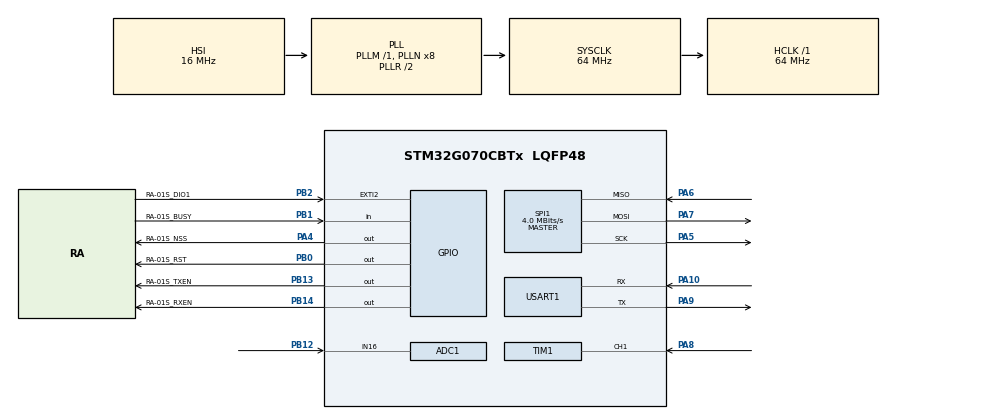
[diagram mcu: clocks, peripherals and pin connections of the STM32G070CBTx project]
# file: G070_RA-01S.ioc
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ADC1.ClockPrescaler=ADC_CLOCK_ASYNC_DIV2
ADC1.ContinuousConvMode=ENABLE
ADC1.DMAContinuousRequests=ENABLE
ADC1.NbrOfConversion=1
ADC1.NbrOfConversionFlag=0
ADC1.SamplingTimeCommon1=ADC_SAMPLETIME_39CYCLES_5
ADC1.SelectedChannel=ADC_CHANNEL_16
ADC1.Sequencer=NOT_FULLY_CONFIGURABLE
ADC1.master=1
Dma.ADC1.0.Direction=DMA_PERIPH_TO_MEMORY
Dma.ADC1.0.EventEnable=DISABLE
Dma.ADC1.0.Instance=DMA1_Channel1
Dma.ADC1.0.MemDataAlignment=DMA_MDATAALIGN_HALFWORD
Dma.ADC1.0.MemInc=DMA_MINC_ENABLE
Dma.ADC1.0.Mode=DMA_CIRCULAR
Dma.ADC1.0.PeriphDataAlignment=DMA_PDATAALIGN_HALFWORD
Dma.ADC1.0.PeriphInc=DMA_PINC_DISABLE
Dma.ADC1.0.Polarity=HAL_DMAMUX_REQ_GEN_RISING
Dma.ADC1.0.Priority=DMA_PRIORITY_LOW
Dma.ADC1.0.RequestNumber=1
Dma.ADC1.0.SignalID=NONE
Dma.ADC1.0.SyncEnable=DISABLE
Dma.ADC1.0.SyncPolarity=HAL_DMAMUX_SYNC_NO_EVENT
Dma.ADC1.0.SyncRequestNumber=1
Dma.ADC1.0.SyncSignalID=NONE
Dma.Request0=ADC1
Dma.Request1=TIM1_CH1
Dma.Request2=TIM1_CH2
Dma.TIM1_CH1.1.Direction=DMA_PERIPH_TO_MEMORY
Dma.TIM1_CH1.1.EventEnable=DISABLE
Dma.TIM1_CH1.1.Instance=DMA1_Channel2
Dma.TIM1_CH1.1.MemDataAlignment=DMA_MDATAALIGN_WORD
Dma.TIM1_CH1.1.MemInc=DMA_MINC_ENABLE
Dma.TIM1_CH1.1.Mode=DMA_CIRCULAR
Dma.TIM1_CH1.1.PeriphDataAlignment=DMA_PDATAALIGN_WORD
Dma.TIM1_CH1.1.PeriphInc=DMA_PINC_DISABLE
Dma.TIM1_CH1.1.Polarity=HAL_DMAMUX_REQ_GEN_RISING
Dma.TIM1_CH1.1.Priority=DMA_PRIORITY_LOW
Dma.TIM1_CH1.1.RequestNumber=1
Dma.TIM1_CH1.1.SignalID=NONE
Dma.TIM1_CH1.1.SyncEnable=DISABLE
Dma.TIM1_CH1.1.SyncPolarity=HAL_DMAMUX_SYNC_NO_EVENT
Dma.TIM1_CH1.1.SyncRequestNumber=1
Dma.TIM1_CH1.1.SyncSignalID=NONE
Dma.TIM1_CH2.2.Direction=DMA_PERIPH_TO_MEMORY
Dma.TIM1_CH2.2.EventEnable=DISABLE
Dma.TIM1_CH2.2.Instance=DMA1_Channel3
Dma.TIM1_CH2.2.MemDataAlignment=DMA_MDATAALIGN_WORD
Dma.TIM1_CH2.2.MemInc=DMA_MINC_ENABLE
Dma.TIM1_CH2.2.Mode=DMA_CIRCULAR
Dma.TIM1_CH2.2.PeriphDataAlignment=DMA_PDATAALIGN_WORD
Dma.TIM1_CH2.2.PeriphInc=DMA_PINC_DISABLE
Dma.TIM1_CH2.2.Polarity=HAL_DMAMUX_REQ_GEN_RISING
Dma.TIM1_CH2.2.Priority=DMA_PRIORITY_LOW
Dma.TIM1_CH2.2.RequestNumber=1
Dma.TIM1_CH2.2.SignalID=NONE
Dma.TIM1_CH2.2.SyncEnable=DISABLE
Dma.TIM1_CH2.2.SyncPolarity=HAL_DMAMUX_SYNC_NO_EVENT
Dma.TIM1_CH2.2.SyncRequestNumber=1
Dma.TIM1_CH2.2.SyncSignalID=NONE
Mcu.Family=STM32G0
Mcu.Name=STM32G070CBTx
Mcu.Package=LQFP48
NVIC.DMA1_Channel1_IRQn=true\:0\:0\:false\:false\:true\:false\:true\:true
NVIC.DMA1_Channel2_3_IRQn=true\:0\:0\:false\:false\:true\:false\:true\:true
NVIC.EXTI2_3_IRQn=true\:0\:0\:false\:false\:true\:true\:true\:true
PA10.Mode=Asynchronous
PA10.Signal=USART1_RX
PA13.Mode=Serial_Wire
PA13.Signal=SYS_SWDIO
PA14-BOOT0.Mode=Serial_Wire
PA14-BOOT0.Signal=SYS_SWCLK
PA4.GPIO_Label=RA-01S_NSS
PA4.GPIO_ModeDefaultOutputPP=GPIO_MODE_OUTPUT_PP
PA4.GPIO_PuPd=GPIO_NOPULL
PA4.GPIO_Speed=GPIO_SPEED_FREQ_LOW
PA4.PinState=GPIO_PIN_SET
PA4.Signal=GPIO_Output
PA5.Mode=Full_Duplex_Master
PA5.Signal=SPI1_SCK
PA6.Mode=Full_Duplex_Master
PA6.Signal=SPI1_MISO
PA7.Mode=Full_Duplex_Master
PA7.Signal=SPI1_MOSI
PA8.Signal=S_TIM1_CH1
PA9.Mode=Asynchronous
PA9.Signal=USART1_TX
PB0.GPIO_Label=RA-01S_RST
PB0.GPIO_ModeDefaultOutputPP=GPIO_MODE_OUTPUT_PP
PB0.GPIO_PuPd=GPIO_NOPULL
PB0.GPIO_Speed=GPIO_SPEED_FREQ_LOW
PB0.PinState=GPIO_PIN_SET
PB0.Signal=GPIO_Output
PB1.GPIO_Label=RA-01S_BUSY
PB1.Signal=GPIO_Input
PB12.Mode=IN16
PB12.Signal=ADC1_IN16
PB13.GPIO_Label=RA-01S_TXEN
PB13.Signal=GPIO_Output
PB14.GPIO_Label=RA-01S_RXEN
PB14.Signal=GPIO_Output
PB2.GPIO_Label=RA-01S_DIO1
PB2.Signal=GPXTI2
PC14-OSC32_IN\ (PC14).Mode=LSE-External-Oscillator
PC14-OSC32_IN\ (PC14).Signal=RCC_OSC32_IN
PC15-OSC32_OUT\ (PC15).Mode=LSE-External-Oscillator
PC15-OSC32_OUT\ (PC15).Signal=RCC_OSC32_OUT
ProjectManager.HeapSize=0x200
ProjectManager.StackSize=0x400
ProjectManager.TargetToolchain=CMake
RCC.ADCCLockSelection=RCC_ADCCLKSOURCE_HSI
RCC.ADCFreq_Value=16000000
RCC.AHBFreq_Value=64000000
RCC.CortexFreq_Value=64000000
RCC.EXTERNAL_CLOCK_VALUE=48000
RCC.HCLKFreq_Value=64000000
RCC.HSE_VALUE=8000000
RCC.HSI_VALUE=16000000
RCC.PLLP=RCC_PLLP_DIV4
RCC.RTCClockSelection=RCC_RTCCLKSOURCE_LSE
RCC.SYSCLKFreq_VALUE=64000000
RCC.SYSCLKSource=RCC_SYSCLKSOURCE_PLLCLK
RCC.VCOOutputFreq_Value=128000000
RTC.Date=29
RTC.Format=RTC_FORMAT_BIN
RTC.Hours=11
RTC.Minutes=34
RTC.Month=RTC_MONTH_APRIL
RTC.Seconds=48
RTC.SubSeconds=44
RTC.WeekDay=RTC_WEEKDAY_WEDNESDAY
SH.S_TIM1_CH1.0=TIM1_CH1,Input_Capture1_from_TI1
SH.S_TIM1_CH1.1=TIM1_CH1,TriggerSource_TI1FP1
SPI1.BaudRatePrescaler=SPI_BAUDRATEPRESCALER_16
SPI1.CalculateBaudRate=4.0 MBits/s
SPI1.Direction=SPI_DIRECTION_2LINES
SPI1.Mode=SPI_MODE_MASTER
SPI1.VirtualType=VM_MASTER
TIM1.Channel-Input_Capture1_from_TI1=TIM_CHANNEL_1
TIM1.Channel-Input_Capture2_from_TI1_63=TIM_CHANNEL_2
TIM1.ICPolarity_CH2=TIM_INPUTCHANNELPOLARITY_FALLING
TIM1.Prescaler=64-1
USART1.VirtualMode-Asynchronous=VM_ASYNC
VP_RTC_VS_RTC_Activate.Mode=RTC_Enabled
VP_RTC_VS_RTC_Calendar.Mode=RTC_Calendar
VP_TIM1_VS_ClockSourceINT.Mode=Internal
VP_TIM1_VS_ControllerModeReset.Mode=Reset Mode
VP_TIM1_VS_indirect_ch1.Mode=Input_Capture2_from_TI1_63
board=custom

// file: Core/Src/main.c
/* USER CODE BEGIN Header */
/**
  ******************************************************************************
  * @file           : main.c
  * @brief          : Main program body
  ******************************************************************************
  * @attention
  *
  * Copyright (c) 2026 STMicroelectronics.
  * All rights reserved.
  *
  * This software is licensed under terms that can be found in the LICENSE file
  * in the root directory of this software component.
  * If no LICENSE file comes with this software, it is provided AS-IS.
  *
  ******************************************************************************
  */
/* USER CODE END Header */
#include "main.h"
#include "adc.h"
#include "dma.h"
#include "rtc.h"
#include "spi.h"
#include "tim.h"
#include "usart.h"
#include "gpio.h"
/* USER CODE BEGIN Includes */
#include "aht30_test.h"
#include "scheduler.h"
#include "key.h"
#include "led.h"
#include "oled.h"
#include "delay.h"
#include <stdio.h>
#include "ra01s_test.h"
#include "radio.h"
/* USER CODE END Includes */

void SystemClock_Config(void);
/* USER CODE BEGIN PFP */
extern void Radio_UpdateTick(void);
/* USER CODE END PFP */

int main(void)
{

  /* MCU Configuration--------------------------------------------------------*/

  /* Reset of all peripherals, Initializes the Flash interface and the Systick. */
  HAL_Init();

  /* Configure the system clock */
  SystemClock_Config();

  /* Initialize all configured peripherals */
  MX_GPIO_Init();
  MX_DMA_Init();
  MX_ADC1_Init();
  MX_TIM1_Init();
  MX_RTC_Init();
  MX_SPI1_Init();
  MX_USART1_UART_Init();
  /* USER CODE BEGIN 2 */
  scheduler_init();
  RA01S_Test_Init();
  /* USER CODE END 2 */

  /* Infinite loop */
  /* USER CODE BEGIN WHILE */
  while (1)
  {
    scheduler_run();
    Radio_UpdateTick();
    Radio.IrqProcess();
    /* USER CODE END WHILE */

  }
}

void SystemClock_Config(void)
{
  RCC_OscInitTypeDef RCC_OscInitStruct = {0};
  RCC_ClkInitTypeDef RCC_ClkInitStruct = {0};

  /** Configure the main internal regulator output voltage
  */
  HAL_PWREx_ControlVoltageScaling(PWR_REGULATOR_VOLTAGE_SCALE1);

  /** Configure LSE Drive Capability
  */
  HAL_PWR_EnableBkUpAccess();
  __HAL_RCC_LSEDRIVE_CONFIG(RCC_LSEDRIVE_LOW);

  /** Initializes the RCC Oscillators according to the specified parameters
  * in the RCC_OscInitTypeDef structure.
  */
  RCC_OscInitStruct.OscillatorType = RCC_OSCILLATORTYPE_HSI|RCC_OSCILLATORTYPE_LSE;
  RCC_OscInitStruct.LSEState = RCC_LSE_ON;
  RCC_OscInitStruct.HSIState = RCC_HSI_ON;
  RCC_OscInitStruct.HSIDiv = RCC_HSI_DIV1;
  RCC_OscInitStruct.HSICalibrationValue = RCC_HSICALIBRATION_DEFAULT;
  RCC_OscInitStruct.PLL.PLLState = RCC_PLL_ON;
  RCC_OscInitStruct.PLL.PLLSource = RCC_PLLSOURCE_HSI;
  RCC_OscInitStruct.PLL.PLLM = RCC_PLLM_DIV1;
  RCC_OscInitStruct.PLL.PLLN = 8;
  RCC_OscInitStruct.PLL.PLLP = RCC_PLLP_DIV4;
  RCC_OscInitStruct.PLL.PLLR = RCC_PLLR_DIV2;
  if (HAL_RCC_OscConfig(&RCC_OscInitStruct) != HAL_OK)
  {
    Error_Handler();
  }

  /** Initializes the CPU, AHB and APB buses clocks
  */
  RCC_ClkInitStruct.ClockType = RCC_CLOCKTYPE_HCLK|RCC_CLOCKTYPE_SYSCLK
                              |RCC_CLOCKTYPE_PCLK1;
  RCC_ClkInitStruct.SYSCLKSource = RCC_SYSCLKSOURCE_PLLCLK;
  RCC_ClkInitStruct.AHBCLKDivider = RCC_SYSCLK_DIV1;
  RCC_ClkInitStruct.APB1CLKDivider = RCC_HCLK_DIV1;

  if (HAL_RCC_ClockConfig(&RCC_ClkInitStruct, FLASH_LATENCY_2) != HAL_OK)
  {
    Error_Handler();
  }
}

/* USER CODE BEGIN 4 */
#ifdef __GNUC__
int _write(int file, char *ptr, int len)
{
  HAL_UART_Transmit(&huart1, (uint8_t *)ptr, len, HAL_MAX_DELAY);
  return len;
}
#endif
/* USER CODE END 4 */

void Error_Handler(void)
{
  __disable_irq();
  while (1)
  {
  }
}
